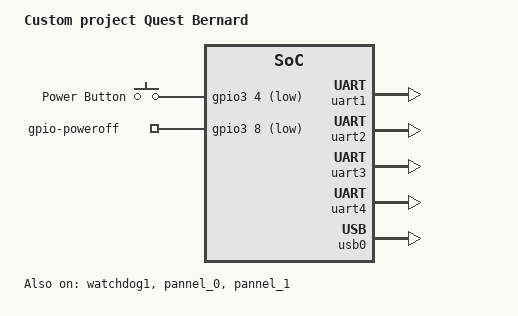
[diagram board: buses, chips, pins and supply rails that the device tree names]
/*
 *  Copyright (C) 2018 Quest Innovations <www.quest-innovations.com>
 *
 * This program is free software; you can redistribute it and/or modify
 * it under the terms of the GNU General Public License as published by
 * the Free Software Foundation; either version 2 of the License, or
 * (at your option) any later version.
 *
 * This program is distributed in the hope that it will be useful,
 * but WITHOUT ANY WARRANTY; without even the implied warranty of
 * MERCHANTABILITY or FITNESS FOR A PARTICULAR PURPOSE.  See the
 * GNU General Public License for more details.
 *
 * You should have received a copy of the GNU General Public License
 * along with this program.  If not, see <http://www.gnu.org/licenses/>.
 */

/dts-v1/;
#include "socfpga_arria10_bernard_base.dtsi"
#include <dt-bindings/interrupt-controller/irq.h>
#include <dt-bindings/gpio/gpio.h>
#include <dt-bindings/input/input.h>

/ {
	model = "Custom project Quest Bernard";
	compatible = "quest,bernard", "altr,socfpga-arria10", "altr,socfpga";

	chosen {
		bootargs = "earlyprintk debug console=ttyAL0,115200";
	};

	gpiokeys {
		compatible = "gpio-keys";
		power_button {
			label = "Power Button";
			gpios = <&gpio3 4 GPIO_ACTIVE_LOW>;
			//linux,code = <KEY_A>;
			linux,code = <KEY_POWER>;
			linux,can-disable;
			status = "okay";
		};
		
	};
	gpio-poweroff {
		compatible = "gpio-poweroff";
		gpios = <&gpio3 8 GPIO_ACTIVE_LOW>;
			status = "okay";
	};
};

&spi0 {

	spidev@0 {
		compatible = "spidev";
		reg = <0>;
		spi-max-frequency = <1000000>;
		status = "disabled";
	};
};

&uart1 {
	status = "okay";
};

&uart2 {
	status = "okay";
};

&uart3 {
	status = "okay";
};

&uart4 {
	status = "okay";
};

&usb0 {
	status = "okay";
};

&watchdog1 {
	status = "okay";
};

&gpio3 {
	status = "okay";
};

&gpio5 {
	status = "okay";
};

&framebuffer0 {
	status = "okay";
};

&pannel_0 {
	status = "okay";
};

&framebuffer1 {
	status = "okay";
};

&pannel_1 {
	status = "okay";
};
